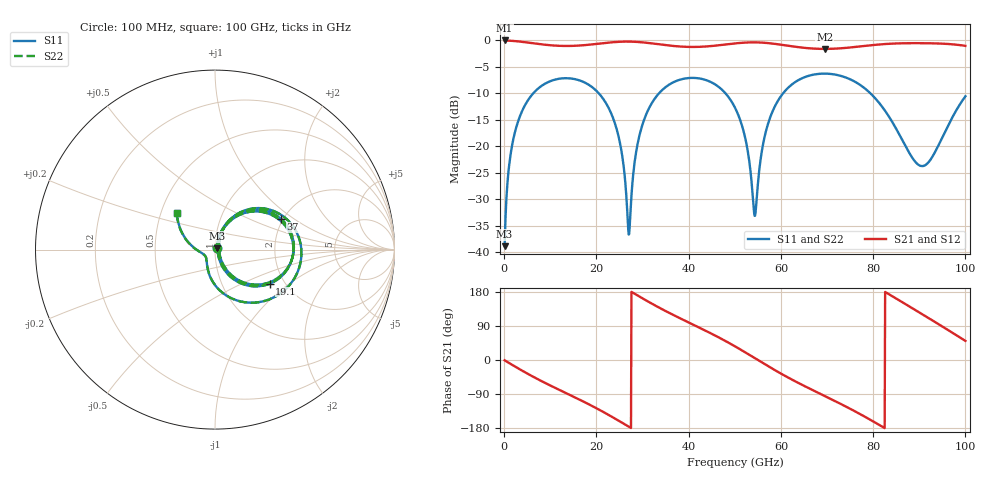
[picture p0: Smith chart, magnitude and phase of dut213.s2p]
! Touchstone file exported from HFSS 2026.1.0
!  File:  C:/ffzhzh/LocalFiles/Ansys_Project_Files/temp_train_TSV_RDL_213_1783661052_26216.aedt
!  Generated:  01:33:18 PM Jul 10, 2026
!  Design:  TSV_RDL
!  Project:  temp_train_TSV_RDL_213_1783661052_26216
! Variables:
!  h_bsmrdl = 3.29um
!  h_ox = 20um
!  h_rdl = 5um
!  h_sub = 89.34um
!  h_tmrdl = 3.3um
!  h_tsv = 89.34um
!  h_via = 3um
!  l_bsmrdl = 198.74um
!  l_sub = 1992.37um
!  l_tmrdl = 217.29um
!  m_sub = 200um
!  pitch = 47.81um
!  r_tsv = 9.17um
!  s_tmrdl = 10um
!  w_bsmrdl = 16.04um
!  w_sub = 500um
!  w_tmrdl = 26.29um
!  x_tsv_center1 = 230.435um
!  x_tsv_center2 = 445.215um
!  x_tsv_center3 = 688.795um
!  x_tsv_center4 = 903.575um
!  x_tsv_center5 = 1147.155um
!  x_tsv_center6 = 1361.935um
# GHz S MA R 50.000000
! Terminal data exported
! Port[1] = TM_RDL1_1_T1
! Port[2] = TM_RDL5_1_T1
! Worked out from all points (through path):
!   1000 points, 100 MHz to 100 GHz, reference 50 ohm
!   highest |S21| = -0.08 dB at 100 MHz (marker M1); lowest = -1.7 dB at 69.5 GHz (marker M2)
!   group delay of S21, straight-line fit = 18.3 ps
!   lowest |S11| = -38.9 dB at 100 MHz (marker M3), VSWR 1.02, Z = 50.9 + j0.654 ohm
!   |S11| at or under -10 dB: 20.47 GHz to 33.61 GHz (13.14 GHz wide, 48.6 % of centre); 47.94 GHz to 60.51 GHz (12.58 GHz wide, 23.2 % of centre); 79.35 GHz to end of sweep (the widest 3 of 4)
!   |S22| runs from -38.9 to -6.3 dB; largest |S21 - S12| = 6.2e-14
!   S11 on the Smith chart (normalised r, x): 100 MHz: 1.02, +0.01; 19.1 GHz: 1.68, -0.73; 37 GHz: 1.95, +0.80; 100 GHz: 0.60, +0.27
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0.1  0.01142 34.2  0.9906 -0.8  0.9906 -0.8  0.01142 34.2
! Gamma 0 0 0 0
! Port Impedance 50 0 50 0
1.6  0.09484 70.4  0.9827 -11.8  0.9827 -11.8  0.09484 70.4
4.4  0.2377 54.6  0.9554 -31.6  0.9554 -31.6  0.2377 54.6
16.8  0.4095 -18.4  0.8904 -107.3  0.8904 -107.3  0.4095 -18.4
19.1  0.3591 -31.9  0.9097 -121.5  0.9097 -121.5  0.3591 -31.9
24.4  0.1444 -63.3  0.9594 -157.2  0.9594 -157.2  0.1445 -63.4
27  0.01469 -6.6  0.9664 -175.9  0.9664 -175.9  0.01465 -7.1
29.4  0.1296 69.2  0.9557 166.9  0.9557 166.9  0.1295 69.2
33.4  0.3087 46.2  0.9135 139.5  0.9135 139.5  0.3086 46.2
37  0.4057 24.9  0.8763 116.9  0.8763 116.9  0.4056 24.9
44.1  0.4142 -15.4  0.8715 74.7  0.8715 74.7  0.4142 -15.4
50.1  0.2279 -50.8  0.9294 35.7  0.9294 35.7  0.2279 -50.7
52.4  0.1122 -61.1  0.9466 19.2  0.9466 19.2  0.1121 -61.0
54.4  0.02208 11.1  0.9505 4.5  0.9505 4.5  0.02233 11.2
56.2  0.1079 68.7  0.9435 -8.8  0.9435 -8.8  0.108 68.5
58.3  0.2179 59.8  0.9244 -24.0  0.9244 -24.0  0.218 59.7
66.7  0.4682 10.2  0.8326 -78.3  0.8326 -78.3  0.4683 10.1
69.5  0.4824 -5.7  0.8247 -95.0  0.8247 -95.0  0.4825 -5.7
76.4  0.3966 -46.3  0.8629 -137.6  0.8629 -137.6  0.3966 -46.3
83.4  0.1906 -91.6  0.9211 173.8  0.9211 173.8  0.1907 -91.4
90.9  0.06509 -149.0  0.9334 119.0  0.9334 119.0  0.06514 -147.9
100  0.2949 136.0  0.8809 50.5  0.8809 50.5  0.2947 136.3
